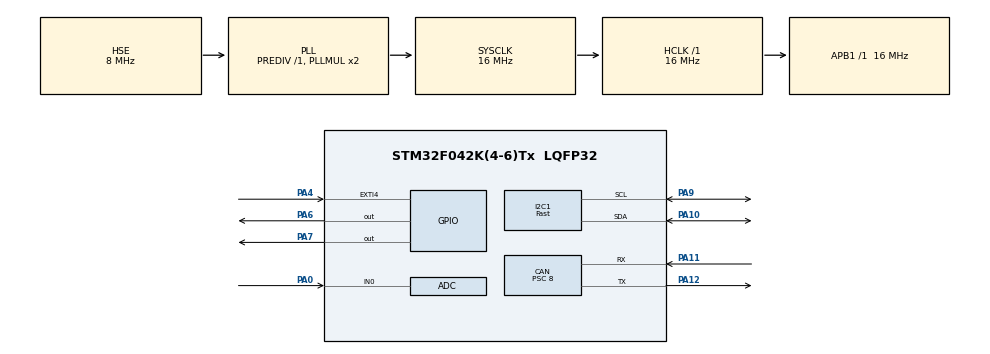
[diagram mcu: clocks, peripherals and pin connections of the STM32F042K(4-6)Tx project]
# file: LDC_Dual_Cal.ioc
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ADC.ContinuousConvMode=ENABLE
ADC.SamplingTime=ADC_SAMPLETIME_239CYCLES_5
CAN.ABOM=ENABLE
CAN.AWUM=ENABLE
CAN.BS1=CAN_BS1_13TQ
CAN.BS2=CAN_BS2_2TQ
CAN.CalculateBaudRate=125000
CAN.CalculateTimeBit=8000
CAN.CalculateTimeQuantum=500.0
CAN.NART=ENABLE
CAN.Prescaler=8
I2C1.I2C_Speed_Mode=I2C_Fast
I2C1.Timing=0x0010020A
Mcu.Family=STM32F0
Mcu.Name=STM32F042K(4-6)Tx
Mcu.Package=LQFP32
NVIC.ADC1_IRQn=true\:0\:0\:false\:false\:true\:true\:true\:true
NVIC.CEC_CAN_IRQn=true\:0\:0\:false\:false\:true\:true\:true\:true
NVIC.TIM3_IRQn=true\:0\:0\:false\:false\:true\:true\:true\:true
PA0.Mode=IN0
PA0.Signal=ADC_IN0
PA10.Mode=I2C
PA10.Signal=I2C1_SDA
PA11.Mode=CAN_Activate
PA11.Signal=CAN_RX
PA12.Mode=CAN_Activate
PA12.Signal=CAN_TX
PA13.Mode=Serial_Wire
PA13.Signal=SYS_SWDIO
PA14.Mode=Serial_Wire
PA14.Signal=SYS_SWCLK
PA4.GPIO_ModeDefaultEXTI=GPIO_MODE_IT_FALLING
PA4.Signal=GPXTI4
PA6.Signal=GPIO_Output
PA7.Signal=GPIO_Output
PA9.Mode=I2C
PA9.Signal=I2C1_SCL
PF0-OSC_IN.Mode=HSE-External-Oscillator
PF0-OSC_IN.Signal=RCC_OSC_IN
PF1-OSC_OUT.Mode=HSE-External-Oscillator
PF1-OSC_OUT.Signal=RCC_OSC_OUT
ProjectManager.HeapSize=0x200
ProjectManager.StackSize=0x400
ProjectManager.TargetToolchain=STM32CubeIDE
RCC.AHBFreq_Value=16000000
RCC.APB1Freq_Value=16000000
RCC.APB1TimFreq_Value=16000000
RCC.HCLKFreq_Value=16000000
RCC.PLLSourceVirtual=RCC_PLLSOURCE_HSE
RCC.SYSCLKFreq_VALUE=16000000
RCC.SYSCLKSource=RCC_SYSCLKSOURCE_PLLCLK
TIM2.AutoReloadPreload=TIM_AUTORELOAD_PRELOAD_DISABLE
TIM2.Period=0
TIM2.Prescaler=16000-1
TIM3.AutoReloadPreload=TIM_AUTORELOAD_PRELOAD_ENABLE
TIM3.CounterMode=TIM_COUNTERMODE_UP
TIM3.Period=10000-1
TIM3.Prescaler=160-1
VP_ADC_TempSens_Input.Mode=IN-TempSens
VP_TIM2_VS_ClockSourceINT.Mode=Internal
VP_TIM3_VS_ClockSourceINT.Mode=Internal
board=custom

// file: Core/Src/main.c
/* USER CODE BEGIN Header */
/**
  ******************************************************************************
  * @file           : main.c
  * @brief          : Main program body
  ******************************************************************************
  * @attention
  *
  * Copyright (c) 2024 STMicroelectronics.
  * All rights reserved.
  *
  * This software is licensed under terms that can be found in the LICENSE file
  * in the root directory of this software component.
  * If no LICENSE file comes with this software, it is provided AS-IS.
  *
  ******************************************************************************
  */
/* USER CODE END Header */
#include "main.h"
/* USER CODE BEGIN Includes */
#include "hdc1080.h"
#include "LDC_1614.h"

#include <stdio.h>
#include <math.h>
#include <string.h>
#include <inttypes.h>
/* USER CODE END Includes */

/* USER CODE BEGIN PD */

#define Base_Can_address 0x100

union Candata {
 struct { uint32_t data0 :32;
		 uint32_t data1 :32;
 } u32data ;
   struct { int data_i0 :16;
		  int data_i1 :16;
		  int data_i2 :16;
		  int data_i3 :16;
 } i16data ;
   struct { uint16_t data_u0 :16;
   uint16_t  data_u1 :16;
   uint16_t  data_u2 :16;
   uint16_t  data_u3 :16;
 } u16data ;
 unsigned char stmp[8];
 long dataL;
} mycandata,mycandata1,mycandata2,mycandata3,mycandata4,mycandata5,mycandata6,mycandata7,mycandata8,MyRxcan;//[CHANNEL_NUM];

//long sample_Rate_millis=5000.0/SAMPLE_LENGTH;
volatile uint32_t Last_Time ; //10khz clock. 16mhz/1600 prescaler.
volatile int idx[CHANNEL_NUM];

uint32_t sen0_ch0;
uint32_t sen0_ch1;
//uint32_t sen0_ch2;
//uint32_t sen0_ch3;
uint8_t drivecurrent[CHANNEL_NUM]={Base_Drive_Current,Base_Drive_Current};//Base_Drive_Current,Base_Drive_Current
volatile uint16_t status0=0,status1=0;//,status2=0,status3=0
volatile uint8_t status0C=0,status1C=0;//,status2C=0,status3C=0
volatile uint16_t N_AE_0C=0,N_AE_1C=0;//,N_AE_2C=0,N_AE_3C=0
//volatile uint16_t AEL[4]={0,0,0,0};
volatile uint8_t AEH[2]={0,0};

uint8_t index_data=0;

volatile uint8_t flag0=0;//,flag1=0,flag2=0,flag3=0;
volatile uint8_t flag_sample=0;
 uint32_t Data0[2*SAMPLE_LENGTH]; // use two buffers for calculating stats while collecting data.
 uint32_t Data1[2*SAMPLE_LENGTH];
 uint32_t Data_therm[2*SAMPLE_LENGTH];
// uint32_t Data2[2*SAMPLE_LENGTH];
// uint32_t Data3[2*SAMPLE_LENGTH];
uint8_t datahalf=0;
volatile uint32_t sensor_status=0;

/* USER CODE END PD */

ADC_HandleTypeDef hadc;

CAN_HandleTypeDef hcan;

I2C_HandleTypeDef hi2c1;

TIM_HandleTypeDef htim2;
TIM_HandleTypeDef htim3;

void SystemClock_Config(void);
static void MX_GPIO_Init(void);
static void MX_CAN_Init(void);
static void MX_I2C1_Init(void);
static void MX_TIM2_Init(void);
static void MX_TIM3_Init(void);
static void MX_ADC_Init(void);
/* USER CODE BEGIN PFP */

//void HAL_GPIO_EXTI_Callback(uint16_t GPIO_Pin)
void HAL_TIM_PeriodElapsedCallback(TIM_HandleTypeDef* htim)
{
	//if(GPIO_Pin==GPIO_PIN_4){
	if (htim->Instance == TIM3) {

	//HAL_GPIO_TogglePin(GPIOA, GPIO_PIN_7);

	//}
	uint8_t index=0;
	sensor_status=LDC1614_get_sensor_status();
	index=(0x3 & (sensor_status>>14));

	// if data ready, read the data, else parse the error and decide what to do
	if(TestBitu32(sensor_status,6)  )
			{
			//HAL_GPIO_WritePin(GPIOA, GPIO_PIN_8, GPIO_PIN_SET);
			flag_sample=1;

			status0=LDC1614_get_channel_result(0, &Data0[index_data+datahalf*SAMPLE_LENGTH]);
			//=sen0_ch0;
			status1=LDC1614_get_channel_result(1, &Data1[index_data+datahalf*SAMPLE_LENGTH]);
			//=sen0_ch1;
//			status2=LDC1614_get_channel_result(2, &Data2[index_data+datahalf*SAMPLE_LENGTH]);
//			//=sen0_ch2;
//			status3=LDC1614_get_channel_result(3, &Data3[index_data+datahalf*SAMPLE_LENGTH]);
			//=sen0_ch3;
			Data_therm[index_data+datahalf*SAMPLE_LENGTH] = HAL_ADC_GetValue(&hadc);

			index_data++;
	//			index_data1++;
	//			index_data2++;
	//			index_data3++;

			if(index_data>=SAMPLE_LENGTH){

				index_data=0;

				if(datahalf==0){
					datahalf=1;
				}
				else{
					datahalf=0;
				}

				flag0=1;

			}

			// HAL_GPIO_TogglePin(GPIOA, GPIO_PIN_7); //blue LED
			status0C=status0C|(0xFF & status0);
			status1C=status1C|(0xFF & status1);
//			status2C=status2C|(0xFF & status2);
//			status3C=status3C|(0xFF & status3);
				if(TestBitu32(status0,0) ){
					N_AE_0C++;
				}
				if(TestBitu32(status1,0) ){
					N_AE_1C++;
				}
//				if(TestBitu32(status2,0) ){
//					N_AE_2C++;
//				}
//				if(TestBitu32(status3,0) ){
//					N_AE_3C++;
//				}

			 // reset the counter

//			if(index_data1>SAMPLE_LENGTH){
//				index_data1=0;
//
//				flag1=1;
//			}
//			if(index_data2>SAMPLE_LENGTH){
//				index_data2=0;
//
//				flag2=1;
//			}
//			if(index_data3>SAMPLE_LENGTH){
//				index_data3=0;
//
//				flag3=1;
//			}

	}
	else{

		//if( (sensor_status & ((u16)1<<0) )  | (sensor_status & ((u16)1<<1)) | (sensor_status & ((u16)1<<2)) | (sensor_status & ((u16)1<<3)) ){

			switch(index){
				case 0 :
					status0=LDC1614_get_channel_result(0, &sen0_ch0); // clear junk from the registers.
					if(TestBitu32(status0,0) ){
						N_AE_0C++;
					}
					break;
				case 1 :
					status1=LDC1614_get_channel_result(1, &sen0_ch1);
					if(TestBitu32(status1,0) ){
						N_AE_1C++;
					}
					break;
//				case 2 :
//					status2=LDC1614_get_channel_result(2, &sen0_ch2);
//					if(TestBitu32(status2,0) ){
//						N_AE_2C++;
//					}
//					break;
//				case 3 :
//					status3=LDC1614_get_channel_result(3, &sen0_ch3);
//					if(TestBitu32(status3,0) ){
//						N_AE_3C++;
//					}
//					break;

			}
			//flag0=2; //set a flag to send status via can
		}

	//	AEL[index]+= (sensor_status & ((u16)1<<9))>>9;
		AEH[index]+= (sensor_status & ((u16)1<<10))>>10;
//		if(AEL[index]>25000)
//		{
//			AEL[index]=25000;
//			flag0=2; // racking up the errors. so get ready to increment or decrement the drive current.
//			}
		if(AEH[index]>250){
			//AEH[index]=0;
			flag0=2;
		}

		if((N_AE_1C>250)|(N_AE_0C>250)){
			flag0=2;
		}
		//HAL_GPIO_WritePin(GPIOA, GPIO_PIN_8, GPIO_PIN_RESET);
	}
}
/* USER CODE END PFP */

/* USER CODE BEGIN 0 */
CAN_RxHeaderTypeDef rxHeader; //CAN Bus Transmit Header
CAN_TxHeaderTypeDef txHeader,txHeader1,txHeader2,txHeader3,txHeader4,txHeader5,txHeader6,txHeader7,txHeader8; //CAN Bus Receive Header
uint8_t canRX[8] = {0,0,0,0,0,0,0,0};  //CAN Bus Receive Buffer

/* USER CODE END 0 */

int main(void)
{

  /* USER CODE BEGIN 1 */
	int valid_samples=0;
	u32 Data_quality[(SAMPLE_LENGTH/32)+1];
	uint16_t T_raw;
	uint32_t mean0,std0,mean1,std1, mean_therm0, std_therm0;

	uint16_t RH_raw;
	uint16_t therm_raw;
  /* USER CODE END 1 */

  /* MCU Configuration--------------------------------------------------------*/

  /* Reset of all peripherals, Initializes the Flash interface and the Systick. */
  HAL_Init();

  /* USER CODE BEGIN Init */
  CAN_FilterTypeDef canfil; //CAN Bus Filter
   uint32_t canMailbox; //CAN Bus Mail box variable

   // Accept all messages
   canfil.FilterBank = 0;
   canfil.FilterMode = CAN_FILTERMODE_IDMASK;
   canfil.FilterFIFOAssignment = CAN_RX_FIFO0;
   canfil.FilterIdHigh = (Base_Can_address+0xA)<<5;//0;
   canfil.FilterIdLow = 0;
   canfil.FilterMaskIdHigh = (Base_Can_address+0xA)<<5;//0;
   canfil.FilterMaskIdLow = 0;
   canfil.FilterScale = CAN_FILTERSCALE_32BIT;
   canfil.FilterActivation = ENABLE;
   canfil.SlaveStartFilterBank = 14;

   txHeader.DLC = 8; // Number of bites to be transmitted max- 8
   txHeader.IDE = CAN_ID_STD;
   txHeader.RTR = CAN_RTR_DATA;
   txHeader.StdId = Base_Can_address;
   txHeader.ExtId = 0x02;
   txHeader.TransmitGlobalTime = DISABLE;

   txHeader1.DLC = 8; // Number of bites to be transmitted max- 8
   txHeader1.IDE = CAN_ID_STD;
   txHeader1.RTR = CAN_RTR_DATA;
   txHeader1.StdId = Base_Can_address+1;
   txHeader1.ExtId = 0x02;
   txHeader1.TransmitGlobalTime = DISABLE;

   txHeader2.DLC = 8; // Number of bites to be transmitted max- 8
   txHeader2.IDE = CAN_ID_STD;
   txHeader2.RTR = CAN_RTR_DATA;
   txHeader2.StdId = Base_Can_address+2;
   txHeader2.ExtId = 0x02;
   txHeader2.TransmitGlobalTime = DISABLE;

   txHeader3.DLC = 8; // Number of bites to be transmitted max- 8
   txHeader3.IDE = CAN_ID_STD;
   txHeader3.RTR = CAN_RTR_DATA;
   txHeader3.StdId = Base_Can_address+3;
   txHeader3.ExtId = 0x02;
   txHeader3.TransmitGlobalTime = DISABLE;

   txHeader4.DLC = 8; // Number of bites to be transmitted max- 8
   txHeader4.IDE = CAN_ID_STD;
   txHeader4.RTR = CAN_RTR_DATA;
   txHeader4.StdId = Base_Can_address+4;
   txHeader4.ExtId = 0x02;
   txHeader4.TransmitGlobalTime = DISABLE;

   txHeader5.DLC = 8; // Number of bites to be transmitted max- 8
   txHeader5.IDE = CAN_ID_STD;
   txHeader5.RTR = CAN_RTR_DATA;
   txHeader5.StdId = Base_Can_address+5;
   txHeader5.ExtId = 0x02;
   txHeader5.TransmitGlobalTime = DISABLE;

   txHeader6.DLC = 8; // Number of bites to be transmitted max- 8
   txHeader6.IDE = CAN_ID_STD;
   txHeader6.RTR = CAN_RTR_DATA;
   txHeader6.StdId = Base_Can_address+6;
   txHeader6.ExtId = 0x02;
   txHeader6.TransmitGlobalTime = DISABLE;

   txHeader7.DLC = 8; // Number of bites to be transmitted max- 8
   txHeader7.IDE = CAN_ID_STD;
   txHeader7.RTR = CAN_RTR_DATA;
   txHeader7.StdId = Base_Can_address+7;
   txHeader7.ExtId = 0x02;
   txHeader7.TransmitGlobalTime = DISABLE;

   txHeader8.DLC = 8; // Number of bites to be transmitted max- 8
   txHeader8.IDE = CAN_ID_STD;
   txHeader8.RTR = CAN_RTR_DATA;
   txHeader8.StdId = Base_Can_address+8;
   txHeader8.ExtId = 0x02;
   txHeader8.TransmitGlobalTime = DISABLE;
  /* USER CODE END Init */

  /* Configure the system clock */
  SystemClock_Config();

  /* Initialize all configured peripherals */
  MX_GPIO_Init();
  MX_CAN_Init();
  MX_I2C1_Init();
  MX_TIM2_Init();
  MX_TIM3_Init();
  MX_ADC_Init();
  HAL_ADC_Start(&hadc);
  /* USER CODE BEGIN 2 */

  HAL_GPIO_WritePin(GPIOA, GPIO_PIN_7, GPIO_PIN_SET); //blue LED
  HAL_Delay(100);

  HAL_TIM_Base_Start_IT(&htim2);
  HAL_TIM_Base_Start_IT(&htim3);
//  HAL_GPIO_TogglePin(GPIOA, GPIO_PIN_7);

  LDC1614_reset_sensor();
  HAL_CAN_ConfigFilter(&hcan,&canfil); //Initialize CAN Filter
  HAL_CAN_Start(&hcan); //Initialize CAN Bus
  HAL_CAN_ActivateNotification(&hcan,CAN_IT_RX_FIFO0_MSG_PENDING);// Initialize CAN Bus Rx Interrupt

  LDC1614_mutiple_channel_config();

    hdc1080_measureRH(&RH_raw);
    hdc1080_measureT(& T_raw);
    // READ_MANUFACTURER_ID
  // reading the Manuf ID Works.
     IIC_read_16bit(READ_MANUFACTURER_ID, &T_raw);
 //   while (1)
 // {
 //   T_raw+=10;
     mycandata.stmp[0]=T_raw;
     mycandata.stmp[1]=T_raw>>8;
     mycandata.stmp[2]=0;
     mycandata.stmp[3]=0;
     mycandata.stmp[4]=1;
     mycandata.stmp[5]=0;
     mycandata.stmp[6]=0;
     mycandata.stmp[7]=0;

     //txHeader.StdId = Base_Can_address;
     while(HAL_CAN_GetTxMailboxesFreeLevel(&hcan) != 3) {} // wait for a free mailbox.
     RH_raw=HAL_CAN_AddTxMessage(&hcan,&txHeader,mycandata.stmp,&canMailbox); // Send Message

//	 HAL_GPIO_TogglePin(GPIOA, GPIO_PIN_7);
     HAL_Delay(100);
  //}
  /* USER CODE END 2 */

  /* Infinite loop */
  while (1)
  {

    /* USER CODE BEGIN 3 */

	  if(flag_sample){
			  Last_Time=__HAL_TIM_GET_COUNTER(&htim2); // reset the counter either way to prevent rapid interrupt firing from the software timer.
			  flag_sample=0;
			 // HAL_GPIO_WritePin(GPIOA, GPIO_PIN_8, GPIO_PIN_SET);
			  HAL_GPIO_WritePin(GPIOA, GPIO_PIN_7, GPIO_PIN_RESET); //blue LED
		  }

	  // this code should no longer be needed siegeljb Feb 2 2024
		  if(__HAL_TIM_GET_COUNTER(&htim2)-Last_Time> 110000){ // should be 100ms  //20ms per tick
	//Last_Time=__HAL_TIM_GET_COUNTER(&htim2)
			  //HAL_GPIO_EXTI_Callback(9);

			  //HAL_GPIO_WritePin(GPIOA, GPIO_PIN_0, GPIO_PIN_SET);

			  HAL_GPIO_WritePin(GPIOA, GPIO_PIN_7, GPIO_PIN_SET); //blue LED

				sensor_status=LDC1614_get_sensor_status();
				status0=LDC1614_get_channel_result(0, &sen0_ch0); // clear junk from the registers.
				status1=LDC1614_get_channel_result(1, &sen0_ch1);

				//HAL_GPIO_WritePin(GPIOA, GPIO_PIN_0, GPIO_PIN_RESET);
				Last_Time=__HAL_TIM_GET_COUNTER(&htim2);

		  }

		  if(flag0==2){ // we got more than 250 errors with no data ready, so report them back.

				  mycandata5.u32data.data0=sensor_status;
				  mycandata5.stmp[4]=drivecurrent[0];
				  mycandata5.stmp[5]=drivecurrent[1];
	//			  mycandata5.stmp[6]=drivecurrent[2];
	//			  mycandata5.stmp[7]=drivecurrent[3];
				   //txHeader.StdId = Base_Can_address+5;
				  while(HAL_CAN_GetTxMailboxesFreeLevel(&hcan) != 3) {} // wait for a free mailbox.
				  HAL_CAN_AddTxMessage(&hcan,&txHeader5,mycandata5.stmp,&canMailbox);

				  mycandata6.u16data.data_u0 =status0;
				  mycandata6.u16data.data_u1 =status1;
	//			  mycandata6.u16data.data_u2 =status2;
	//			  mycandata6.u16data.data_u3 =status3;
				  while(HAL_CAN_GetTxMailboxesFreeLevel(&hcan) != 3) {} // wait for a free mailbox.
				  HAL_CAN_AddTxMessage(&hcan,&txHeader6,mycandata6.stmp,&canMailbox);

				//  mycandata7.u16data.data_u0 =AEL[0];
				//  mycandata7.u16data.data_u1 =AEL[1];
				//  mycandata7.u16data.data_u2 =AEL[2];
				//  mycandata7.u16data.data_u3 =AEL[3];
				//  HAL_CAN_AddTxMessage(&hcan,&txHeader7,mycandata7.stmp,&canMailbox);

				  mycandata8.u16data.data_u0 =AEH[0];
				  mycandata8.u16data.data_u1 =AEH[1];
	//			  mycandata8.u16data.data_u2 =AEH[2];
	//			  mycandata8.u16data.data_u3 =AEH[3];
				  while(HAL_CAN_GetTxMailboxesFreeLevel(&hcan) != 3) {} // wait for a free mailbox.
				  HAL_CAN_AddTxMessage(&hcan,&txHeader8,mycandata8.stmp,&canMailbox);

				  AEH[0]=0;
				  AEH[1]=0;
				  //AEH[2]=0;
				  //AEH[3]=0;

				  therm_raw = HAL_ADC_GetValue(&hadc);

				  mycandata4.stmp[0]=T_raw;
				  mycandata4.stmp[1]=T_raw>>8;
				  mycandata4.stmp[2]=RH_raw;
				  mycandata4.stmp[3]=RH_raw>>8;
				  mycandata4.stmp[4]=N_AE_0C;
				  mycandata4.stmp[5]=N_AE_1C;
				  mycandata4.stmp[6]=therm_raw;
				  mycandata4.stmp[7]=therm_raw>>8;
					N_AE_0C=0;
					N_AE_1C=0;
	//				N_AE_2C=0;
	//				N_AE_3C=0;

				 // csend[6]=receive_data_RHT[2];
				 // csend[7]=receive_data_RHT[3]; // Tx Buffer
				//  txHeader.StdId = Base_Can_address+4;
				  while(HAL_CAN_GetTxMailboxesFreeLevel(&hcan) != 3) {} // wait for a free mailbox.
				  HAL_CAN_AddTxMessage(&hcan,&txHeader4,mycandata4.stmp,&canMailbox); // Send Message

	//		  for(i=0;i<CHANNEL_NUM;i++){
	////				  if(AEL[i]>5)
	////					AEL[i]-= 5;
	////				  else
	////					AEL[i]=0;
	//
	//				  if(AEL[i]>100){
	//					  drivecurrent[i]++;
	//					  if(drivecurrent[i] >Max_Drive_Current)
	//						  drivecurrent[i] =Max_Drive_Current;
	//					  LDC1614_set_sensor_config(0xC601); //enter sleep
	//					  LDC1614_set_driver_current(i, drive_current_to_hex(drivecurrent[i]) );
	//					  LDC1614_set_sensor_config(0xD601); //resume
	//					 AEL[i]=0;
	//				  }
	//
	////				  if(AEH[i]>5)
	////					AEH[i]-= 5;
	////				  else
	////					AEH[i]=0;
	//
	//				  if(AEH[i]>100){
	//					  drivecurrent[i]--;
	//					  if(drivecurrent[i] <Min_Drive_Current)
	//						  drivecurrent[i] =Min_Drive_Current;
	//					  LDC1614_set_sensor_config(0xC601);
	//					  LDC1614_set_driver_current(i, drive_current_to_hex(drivecurrent[i]) );
	//					  LDC1614_set_sensor_config(0xD601);
	//					  AEH[i]=0;
	//				  }
	//		  }
			  flag0=0;
			  Last_Time=__HAL_TIM_GET_COUNTER(&htim2);
		  }
		  if(flag0==1){

			  //HAL_GPIO_WritePin(GPIOA, GPIO_PIN_7, GPIO_PIN_RESET);
				//Tten_conv=((T_raw*1650)>>16)-400;
				//T=( ((T_raw/65536.0)*165.0)-40.0 );
			 //     sprintf(Buffer, "T: %u raw, RH: %d , T: %ld C \r\n",T_raw,RH_raw*100>>16,Tten_conv);
			 //   HAL_UART_Transmit(&huart2, Buffer, sizeof(Buffer), 10000);
			   mycandata5.u32data.data0=sensor_status;
			   mycandata5.stmp[4]=drivecurrent[0];
			   mycandata5.stmp[5]=drivecurrent[1];
	//		   mycandata5.stmp[6]=drivecurrent[2];
	//		   mycandata5.stmp[7]=drivecurrent[3];
			   //txHeader.StdId = Base_Can_address+5;
			   while(HAL_CAN_GetTxMailboxesFreeLevel(&hcan) != 3) {} // wait for a free mailbox.
			   HAL_CAN_AddTxMessage(&hcan,&txHeader5,mycandata5.stmp,&canMailbox);

			  flag0=0;
			  get_stats(&Data0[(1-datahalf)*SAMPLE_LENGTH],&std0,&mean0);
			  get_valid_stats(&Data0[(1-datahalf)*SAMPLE_LENGTH],Data_quality, &std0,&mean0,&valid_samples);

			  mycandata.u32data.data0 =mean0;
			  mycandata.u16data.data_u2 =std0;
			  mycandata.u16data.data_u3 =valid_samples;
			  //txHeader.StdId = Base_Can_address;
			  while(HAL_CAN_GetTxMailboxesFreeLevel(&hcan) != 3) {} // wait for a free mailbox.
			  HAL_CAN_AddTxMessage(&hcan,&txHeader,mycandata.stmp,&canMailbox);

			  hdc1080_measureRH(&RH_raw);
			  hdc1080_measureT(& T_raw);

			  get_stats(&Data_therm[(1-datahalf)*SAMPLE_LENGTH], &std_therm0, &mean_therm0);
			  get_valid_stats(&Data_therm[(1-datahalf)*SAMPLE_LENGTH], Data_quality, &std_therm0, &mean_therm0, &valid_samples);
			  therm_raw = mean_therm0;

			  mycandata4.stmp[0]=T_raw;
			  mycandata4.stmp[1]=T_raw>>8;
			  mycandata4.stmp[2]=RH_raw;
			  mycandata4.stmp[3]=RH_raw>>8;
			  mycandata4.stmp[4]=N_AE_0C;
			  mycandata4.stmp[5]=N_AE_1C;
			  mycandata4.stmp[6]=therm_raw;
			  mycandata4.stmp[7]=therm_raw>>8;
				N_AE_1C=0;
	//			N_AE_2C=0;
	//			N_AE_3C=0;

			 // csend[6]=receive_data_RHT[2];
			 // csend[7]=receive_data_RHT[3]; // Tx Buffer
			//  txHeader.StdId = Base_Can_address+4;
			  while(HAL_CAN_GetTxMailboxesFreeLevel(&hcan) != 3) {} // wait for a free mailbox.
			  HAL_CAN_AddTxMessage(&hcan,&txHeader4,mycandata4.stmp,&canMailbox); // Send Message

			  HAL_GPIO_TogglePin(GPIOA, GPIO_PIN_6); // Green LED

			  mycandata6.u16data.data_u0 =status0C;
			  mycandata6.u16data.data_u1 =status1C;
	//		  mycandata6.u16data.data_u2 =status2C;
	//		  mycandata6.u16data.data_u3 =status3C;
			  status0C=0;
			  status1C=0;
	//		  status2C=0;
	//		  status3C=0;

	//		  txHeader.StdId = Base_Can_address+6;
			  while(HAL_CAN_GetTxMailboxesFreeLevel(&hcan) != 3) {} // wait for a free mailbox.
			  HAL_CAN_AddTxMessage(&hcan,&txHeader6,mycandata6.stmp,&canMailbox);

			  get_stats(&Data1[(1-datahalf)*SAMPLE_LENGTH],&std1,&mean1);
			  get_valid_stats(&Data1[(1-datahalf)*SAMPLE_LENGTH],Data_quality, &std1,&mean1,&valid_samples);

			  mycandata1.u32data.data0 =mean1;
			  mycandata1.u16data.data_u2 =std1;
			  mycandata1.u16data.data_u3 =valid_samples;
			  while(HAL_CAN_GetTxMailboxesFreeLevel(&hcan) != 3) {} // wait for a free mailbox.
			  HAL_CAN_AddTxMessage(&hcan,&txHeader1,mycandata1.stmp,&canMailbox);

		   	  //HAL_GPIO_WritePin(GPIOA, GPIO_PIN_7, GPIO_PIN_RESET); //blue LED off

	//		  get_stats(&Data2[(1-datahalf)*SAMPLE_LENGTH],&std2,&mean2);
	//		  get_valid_stats(&Data2[(1-datahalf)*SAMPLE_LENGTH],Data_quality, &std2,&mean2,&valid_samples);
	//		  mycandata2.u32data.data0 =mean2;
	//		  mycandata2.u16data.data_u2 =std2;
	//		  mycandata2.u16data.data_u3 =valid_samples;
	//		  while(HAL_CAN_GetTxMailboxesFreeLevel(&hcan) != 3) {} // wait for a free mailbox.
	//		  HAL_CAN_AddTxMessage(&hcan,&txHeader2,mycandata2.stmp,&canMailbox);

	//	   	  get_stats(&Data3[(1-datahalf)*SAMPLE_LENGTH],&std3,&mean3);
	//		  get_valid_stats(&Data3[(1-datahalf)*SAMPLE_LENGTH],Data_quality, &std3,&mean3,&valid_samples);
	//		  mycandata3.u32data.data0 =mean3;
	//		  mycandata3.u16data.data_u2 =std3;
	//		  mycandata3.u16data.data_u3 =valid_samples;
	//		  while(HAL_CAN_GetTxMailboxesFreeLevel(&hcan) != 3) {} // wait for a free mailbox.
	//		  HAL_CAN_AddTxMessage(&hcan,&txHeader3,mycandata3.stmp,&canMailbox);

			  // report the number of amplitude errors.
			//  mycandata7.u16data.data_u0 =AEL[0];
			//  mycandata7.u16data.data_u1 =AEL[1];
			//  mycandata7.u16data.data_u2 =AEL[2];
			//  mycandata7.u16data.data_u3 =AEL[3];
			//  HAL_CAN_AddTxMessage(&hcan,&txHeader7,mycandata7.stmp,&canMailbox);

			  mycandata8.u16data.data_u0 =AEH[0];
			  mycandata8.u16data.data_u1 =AEH[1];
	//		  mycandata8.u16data.data_u2 =AEH[2];
	//		  mycandata8.u16data.data_u3 =AEH[3];
			  while(HAL_CAN_GetTxMailboxesFreeLevel(&hcan) != 3) {} // wait for a free mailbox.
			  HAL_CAN_AddTxMessage(&hcan,&txHeader8,mycandata8.stmp,&canMailbox);
			  AEH[0]=0;
			  AEH[1]=0;
	//		  AEH[2]=0;
	//		  AEH[3]=0;
	//		  for(i=0;i<CHANNEL_NUM;i++){
	//		  if(AEL[i]>5)
	//			AEL[i]-= 5;
	//		  else
	//			AEL[i]=0;

	//		  if(AEL[i]>100){
	//			  drivecurrent[i]++;
	//			  if(drivecurrent[i] >Max_Drive_Current)
	//				  drivecurrent[i] =Max_Drive_Current;
	//			  LDC1614_set_sensor_config(0xC601); //enter sleep
	//			  LDC1614_set_driver_current(i, drive_current_to_hex(drivecurrent[i]) );
	//			  LDC1614_set_sensor_config(0xD601); //resume
	//			  AEL[i]=0;
	//		  }

	//		  if(AEH[i]>5)
	//			AEH[i]-= 5;
	//		  else
	//			AEH[i]=0;

	//		  if(AEH[i]>100){
	//			  drivecurrent[i]--;
	//			  if(drivecurrent[i] <Min_Drive_Current)
	//				  drivecurrent[i] =Min_Drive_Current;
	//			  LDC1614_set_sensor_config(0xC601);
	//			  LDC1614_set_driver_current(i, drive_current_to_hex(drivecurrent[i]) );
	//			  LDC1614_set_sensor_config(0xD601);
	//			  AEH[i]=0;
	//		  }

	//		  }

			//	sprintf(Buffer, "Data0: %ld , Data1: %ld , Data2: %ld , Data3: %ld  \r\n",sen0_ch0,sen0_ch1,sen0_ch2,sen0_ch3);
			//	HAL_UART_Transmit(&huart2, Buffer, sizeof(Buffer), 10000);

			//	sprintf(Buffer, "status0: %d , status1: %d , status2: %d , status3: %d , Status: %ld \r\n",status0,status1,status2,status3,LDC1614_get_sensor_status());
			//	HAL_UART_Transmit(&huart2, Buffer, sizeof(Buffer), 10000);

			  //Last_Time=__HAL_TIM_GET_COUNTER(&htim2);
		  }
		 // HAL_GPIO_TogglePin(GPIOA, GPIO_PIN_7); //blue LED
		 // HAL_GPIO_WritePin(GPIOA, GPIO_PIN_8, GPIO_PIN_RESET);

  }
  /* USER CODE END 3 */
}

void SystemClock_Config(void)
{
  RCC_OscInitTypeDef RCC_OscInitStruct = {0};
  RCC_ClkInitTypeDef RCC_ClkInitStruct = {0};
  RCC_PeriphCLKInitTypeDef PeriphClkInit = {0};

  /** Initializes the RCC Oscillators according to the specified parameters
  * in the RCC_OscInitTypeDef structure.
  */
  RCC_OscInitStruct.OscillatorType = RCC_OSCILLATORTYPE_HSI|RCC_OSCILLATORTYPE_HSI14
                              |RCC_OSCILLATORTYPE_HSE;
  RCC_OscInitStruct.HSEState = RCC_HSE_ON;
  RCC_OscInitStruct.HSIState = RCC_HSI_ON;
  RCC_OscInitStruct.HSI14State = RCC_HSI14_ON;
  RCC_OscInitStruct.HSICalibrationValue = RCC_HSICALIBRATION_DEFAULT;
  RCC_OscInitStruct.HSI14CalibrationValue = 16;
  RCC_OscInitStruct.PLL.PLLState = RCC_PLL_ON;
  RCC_OscInitStruct.PLL.PLLSource = RCC_PLLSOURCE_HSE;
  RCC_OscInitStruct.PLL.PLLMUL = RCC_PLL_MUL2;
  RCC_OscInitStruct.PLL.PREDIV = RCC_PREDIV_DIV1;
  if (HAL_RCC_OscConfig(&RCC_OscInitStruct) != HAL_OK)
  {
    Error_Handler();
  }

  /** Initializes the CPU, AHB and APB buses clocks
  */
  RCC_ClkInitStruct.ClockType = RCC_CLOCKTYPE_HCLK|RCC_CLOCKTYPE_SYSCLK
                              |RCC_CLOCKTYPE_PCLK1;
  RCC_ClkInitStruct.SYSCLKSource = RCC_SYSCLKSOURCE_PLLCLK;
  RCC_ClkInitStruct.AHBCLKDivider = RCC_SYSCLK_DIV1;
  RCC_ClkInitStruct.APB1CLKDivider = RCC_HCLK_DIV1;

  if (HAL_RCC_ClockConfig(&RCC_ClkInitStruct, FLASH_LATENCY_0) != HAL_OK)
  {
    Error_Handler();
  }
  PeriphClkInit.PeriphClockSelection = RCC_PERIPHCLK_I2C1;
  PeriphClkInit.I2c1ClockSelection = RCC_I2C1CLKSOURCE_HSI;
  if (HAL_RCCEx_PeriphCLKConfig(&PeriphClkInit) != HAL_OK)
  {
    Error_Handler();
  }
}

static void MX_ADC_Init(void)
{

  ADC_ChannelConfTypeDef sConfig = {0};

  /** Configure the global features of the ADC (Clock, Resolution, Data Alignment and number of conversion)
  */
  hadc.Instance = ADC1;
  hadc.Init.ClockPrescaler = ADC_CLOCK_ASYNC_DIV1;
  hadc.Init.Resolution = ADC_RESOLUTION_12B;
  hadc.Init.DataAlign = ADC_DATAALIGN_RIGHT;
  hadc.Init.ScanConvMode = ADC_SCAN_DIRECTION_FORWARD;
  hadc.Init.EOCSelection = ADC_EOC_SINGLE_CONV;
  hadc.Init.LowPowerAutoWait = DISABLE;
  hadc.Init.LowPowerAutoPowerOff = DISABLE;
  hadc.Init.ContinuousConvMode = ENABLE;
  hadc.Init.DiscontinuousConvMode = DISABLE;
  hadc.Init.ExternalTrigConv = ADC_SOFTWARE_START;
  hadc.Init.ExternalTrigConvEdge = ADC_EXTERNALTRIGCONVEDGE_NONE;
  hadc.Init.DMAContinuousRequests = DISABLE;
  hadc.Init.Overrun = ADC_OVR_DATA_PRESERVED;
  if (HAL_ADC_Init(&hadc) != HAL_OK)
  {
    Error_Handler();
  }

  /** Configure for the selected ADC regular channel to be converted.
  */
  sConfig.Channel = ADC_CHANNEL_0;
  sConfig.Rank = ADC_RANK_CHANNEL_NUMBER;
  sConfig.SamplingTime = ADC_SAMPLETIME_239CYCLES_5;
  if (HAL_ADC_ConfigChannel(&hadc, &sConfig) != HAL_OK)
  {
    Error_Handler();
  }

}

static void MX_CAN_Init(void)
{

  hcan.Instance = CAN;
  hcan.Init.Prescaler = 8;
  hcan.Init.Mode = CAN_MODE_NORMAL;
  hcan.Init.SyncJumpWidth = CAN_SJW_1TQ;
  hcan.Init.TimeSeg1 = CAN_BS1_13TQ;
  hcan.Init.TimeSeg2 = CAN_BS2_2TQ;
  hcan.Init.TimeTriggeredMode = DISABLE;
  hcan.Init.AutoBusOff = ENABLE;
  hcan.Init.AutoWakeUp = ENABLE;
  hcan.Init.AutoRetransmission = ENABLE;
  hcan.Init.ReceiveFifoLocked = DISABLE;
  hcan.Init.TransmitFifoPriority = DISABLE;
  if (HAL_CAN_Init(&hcan) != HAL_OK)
  {
    Error_Handler();
  }

}

static void MX_I2C1_Init(void)
{

  hi2c1.Instance = I2C1;
  hi2c1.Init.Timing = 0x0010020A;
  hi2c1.Init.OwnAddress1 = 0;
  hi2c1.Init.AddressingMode = I2C_ADDRESSINGMODE_7BIT;
  hi2c1.Init.DualAddressMode = I2C_DUALADDRESS_DISABLE;
  hi2c1.Init.OwnAddress2 = 0;
  hi2c1.Init.OwnAddress2Masks = I2C_OA2_NOMASK;
  hi2c1.Init.GeneralCallMode = I2C_GENERALCALL_DISABLE;
  hi2c1.Init.NoStretchMode = I2C_NOSTRETCH_DISABLE;
  if (HAL_I2C_Init(&hi2c1) != HAL_OK)
  {
    Error_Handler();
  }

  /** Configure Analogue filter
  */
  if (HAL_I2CEx_ConfigAnalogFilter(&hi2c1, I2C_ANALOGFILTER_ENABLE) != HAL_OK)
  {
    Error_Handler();
  }

  /** Configure Digital filter
  */
  if (HAL_I2CEx_ConfigDigitalFilter(&hi2c1, 0) != HAL_OK)
  {
    Error_Handler();
  }

}

static void MX_TIM2_Init(void)
{

  TIM_ClockConfigTypeDef sClockSourceConfig = {0};
  TIM_MasterConfigTypeDef sMasterConfig = {0};

  htim2.Instance = TIM2;
  htim2.Init.Prescaler = 16000-1;
  htim2.Init.CounterMode = TIM_COUNTERMODE_UP;
  htim2.Init.Period = 0;
  htim2.Init.ClockDivision = TIM_CLOCKDIVISION_DIV1;
  htim2.Init.AutoReloadPreload = TIM_AUTORELOAD_PRELOAD_DISABLE;
  if (HAL_TIM_Base_Init(&htim2) != HAL_OK)
  {
    Error_Handler();
  }
  sClockSourceConfig.ClockSource = TIM_CLOCKSOURCE_INTERNAL;
  if (HAL_TIM_ConfigClockSource(&htim2, &sClockSourceConfig) != HAL_OK)
  {
    Error_Handler();
  }
  sMasterConfig.MasterOutputTrigger = TIM_TRGO_RESET;
  sMasterConfig.MasterSlaveMode = TIM_MASTERSLAVEMODE_DISABLE;
  if (HAL_TIMEx_MasterConfigSynchronization(&htim2, &sMasterConfig) != HAL_OK)
  {
    Error_Handler();
  }

}

static void MX_TIM3_Init(void)
{

  TIM_ClockConfigTypeDef sClockSourceConfig = {0};
  TIM_MasterConfigTypeDef sMasterConfig = {0};

  htim3.Instance = TIM3;
  htim3.Init.Prescaler = 160-1;
  htim3.Init.CounterMode = TIM_COUNTERMODE_UP;
  htim3.Init.Period = 10000-1;
  htim3.Init.ClockDivision = TIM_CLOCKDIVISION_DIV1;
  htim3.Init.AutoReloadPreload = TIM_AUTORELOAD_PRELOAD_ENABLE;
  if (HAL_TIM_Base_Init(&htim3) != HAL_OK)
  {
    Error_Handler();
  }
  sClockSourceConfig.ClockSource = TIM_CLOCKSOURCE_INTERNAL;
  if (HAL_TIM_ConfigClockSource(&htim3, &sClockSourceConfig) != HAL_OK)
  {
    Error_Handler();
  }
  sMasterConfig.MasterOutputTrigger = TIM_TRGO_RESET;
  sMasterConfig.MasterSlaveMode = TIM_MASTERSLAVEMODE_DISABLE;
  if (HAL_TIMEx_MasterConfigSynchronization(&htim3, &sMasterConfig) != HAL_OK)
  {
    Error_Handler();
  }

}

static void MX_GPIO_Init(void)
{
  GPIO_InitTypeDef GPIO_InitStruct = {0};

  /* GPIO Ports Clock Enable */
  __HAL_RCC_GPIOF_CLK_ENABLE();
  __HAL_RCC_GPIOA_CLK_ENABLE();

  /*Configure GPIO pin Output Level */
  HAL_GPIO_WritePin(GPIOA, GPIO_PIN_6|GPIO_PIN_7, GPIO_PIN_RESET);

  /*Configure GPIO pin : PA4 */
  GPIO_InitStruct.Pin = GPIO_PIN_4;
  GPIO_InitStruct.Mode = GPIO_MODE_IT_FALLING;
  GPIO_InitStruct.Pull = GPIO_NOPULL;
  HAL_GPIO_Init(GPIOA, &GPIO_InitStruct);

  /*Configure GPIO pins : PA6 PA7 */
  GPIO_InitStruct.Pin = GPIO_PIN_6|GPIO_PIN_7;
  GPIO_InitStruct.Mode = GPIO_MODE_OUTPUT_PP;
  GPIO_InitStruct.Pull = GPIO_NOPULL;
  GPIO_InitStruct.Speed = GPIO_SPEED_FREQ_LOW;
  HAL_GPIO_Init(GPIOA, &GPIO_InitStruct);

}

/* USER CODE BEGIN 4 */
void HAL_CAN_RxFifo0MsgPendingCallback(CAN_HandleTypeDef *hcan1)
{
	HAL_CAN_GetRxMessage(hcan1, CAN_RX_FIFO0, &rxHeader, MyRxcan.stmp); //Receive CAN bus message to canRX buffer
	if(Base_Can_address+0xA==rxHeader.StdId){

		 if(MyRxcan.stmp[0]==0){ // do nothing.
		 //drivecurrent[0]=Base_Drive_Current;
		 //drivecurrent[1]=Base_Drive_Current;
		 //drivecurrent[2]=Base_Drive_Current;
		 //drivecurrent[3]=Base_Drive_Current;
			// AEL[0]=0;
			 AEH[0]=0;
			// AEL[1]=0;
			 AEH[1]=0;
			// AEL[2]=0;
//			 AEH[2]=0;
//			// AEL[3]=0;
//			 AEH[3]=0;
		 }
		 else{
			 LDC1614_set_sensor_config(0xC601); //enter sleep
			 //
//			 drivecurrent[0]=MyRxcan.u16data.data_u0; //canRX[2*j]+(canRX[2*j+1]<<8);
//			 drivecurrent[1]=MyRxcan.u16data.data_u1;
//			 drivecurrent[2]=MyRxcan.u16data.data_u2;
//			 drivecurrent[3]=MyRxcan.u16data.data_u3;
			 for(int j=0;j<CHANNEL_NUM;j++){
				 drivecurrent[j]=MyRxcan.stmp[j];
			 if(drivecurrent[j] > Max_Drive_Current){
				 drivecurrent[j]=Max_Drive_Current;
			 }
			 if(drivecurrent[j] < Min_Drive_Current){
				 drivecurrent[j] =Min_Drive_Current;
			 }
			 //AEL[j]=0;
			 AEH[j]=0;
		 }
		LDC1614_reset_sensor();
		LDC1614_mutiple_channel_config();
		 }

	}
//	HAL_GPIO_TogglePin(GPIOA, GPIO_PIN_3);// toggle PA3 LED
//	HAL_GPIO_TogglePin(GPIOA, GPIO_PIN_7); //blue LED

}
/* USER CODE END 4 */

void Error_Handler(void)
{
  __disable_irq();
  while (1)
  {
  }
}
